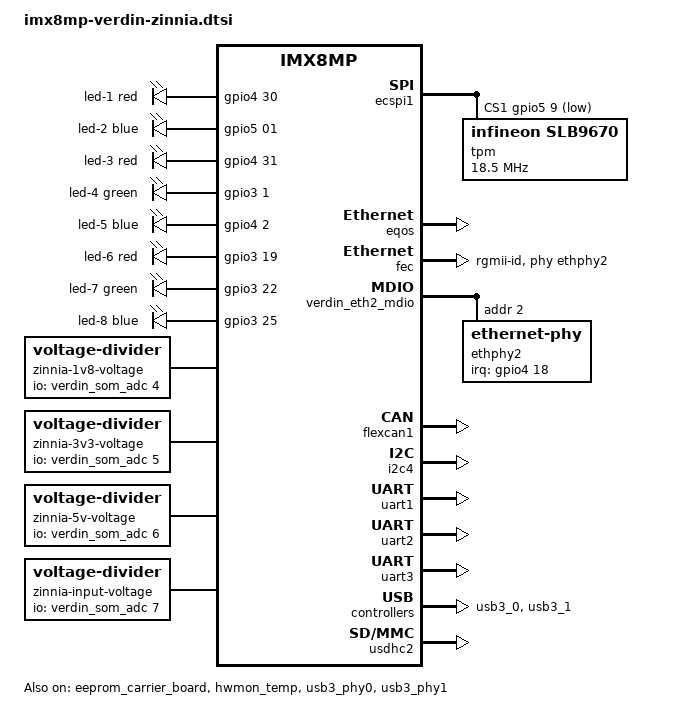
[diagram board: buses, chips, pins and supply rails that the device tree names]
// SPDX-License-Identifier: GPL-2.0-or-later OR MIT
/*
 * Copyright (c) Toradex
 *
 * Common dtsi for Verdin IMX8MP SoM on Zinnia carrier board
 *
 * https://www.toradex.com/computer-on-modules/verdin-arm-family/nxp-imx-8m-plus
 * https://www.toradex.com/products/carrier-board/zinnia-carrier-board
 */

#include <dt-bindings/leds/common.h>
#include <dt-bindings/net/ti-dp83867.h>

/ {
	leds {
		compatible = "gpio-leds";
		pinctrl-names = "default";
		pinctrl-0 = <&pinctrl_zinnia_leds>;

		/* LED1 Red - SODIMM 48 - LED1_R */
		led-1 {
			color = <LED_COLOR_ID_RED>;
			default-state = "off";
			function = LED_FUNCTION_STATUS;
			function-enumerator = <1>;
			gpios = <&gpio4 30 GPIO_ACTIVE_HIGH>;
		};

		/* LED1 Blue - SODIMM 46 - LED1_B */
		led-2 {
			color = <LED_COLOR_ID_BLUE>;
			default-state = "off";
			function = LED_FUNCTION_STATUS;
			function-enumerator = <1>;
			gpios = <&gpio5 01 GPIO_ACTIVE_HIGH>;
		};

		/* LED3 Red - SODIMM 44 - LED3_R */
		led-3 {
			color = <LED_COLOR_ID_RED>;
			default-state = "off";
			function = LED_FUNCTION_STATUS;
			function-enumerator = <3>;
			gpios = <&gpio4 31 GPIO_ACTIVE_HIGH>;
		};

		/* LED3 Green - SODIMM 54 - LED3_G */
		led-4 {
			color = <LED_COLOR_ID_GREEN>;
			default-state = "off";
			function = LED_FUNCTION_STATUS;
			function-enumerator = <3>;
			gpios = <&gpio3 1 GPIO_ACTIVE_HIGH>;
		};

		/* LED3 Blue - SODIMM 36 - LED3_B */
		led-5 {
			color = <LED_COLOR_ID_BLUE>;
			default-state = "off";
			function = LED_FUNCTION_STATUS;
			function-enumerator = <3>;
			gpios = <&gpio4 2 GPIO_ACTIVE_HIGH>;
		};

		/* LED4 Red - SODIMM 34 - LED4_R */
		led-6 {
			color = <LED_COLOR_ID_RED>;
			default-state = "off";
			function = LED_FUNCTION_STATUS;
			function-enumerator = <4>;
			gpios = <&gpio3 19 GPIO_ACTIVE_HIGH>;
		};

		/* LED4 Green - SODIMM 32 - LED4_G */
		led-7 {
			color = <LED_COLOR_ID_GREEN>;
			default-state = "off";
			function = LED_FUNCTION_STATUS;
			function-enumerator = <4>;
			gpios = <&gpio3 22 GPIO_ACTIVE_HIGH>;
		};

		/* LED4 Blue - SODIMM 30 - LED4_B */
		led-8 {
			color = <LED_COLOR_ID_BLUE>;
			default-state = "off";
			function = LED_FUNCTION_STATUS;
			function-enumerator = <4>;
			gpios = <&gpio3 25 GPIO_ACTIVE_HIGH>;
		};
	};

	zinnia-1v8-voltage {
		compatible = "voltage-divider";
		full-ohms = <39000>; /* 12k + 27k */
		/* Verdin ADC_4 */
		io-channels = <&verdin_som_adc 4>;
		output-ohms = <27000>;
	};

	zinnia-3v3-voltage {
		compatible = "voltage-divider";
		full-ohms = <54000>; /* 27k + 27k */
		/* Verdin ADC_3 */
		io-channels = <&verdin_som_adc 5>;
		output-ohms = <27000>;
	};

	zinnia-5v-voltage {
		compatible = "voltage-divider";
		full-ohms = <39000>; /* 27k + 12k */
		/* Verdin ADC_2 */
		io-channels = <&verdin_som_adc 6>;
		output-ohms = <12000>;
	};

	/* Zinnia Power Supply Input Voltage */
	zinnia-input-voltage {
		compatible = "voltage-divider";
		full-ohms = <204700>; /* 200k + 4.7k */
		/* Verdin ADC_1 */
		io-channels = <&verdin_som_adc 7>;
		output-ohms = <4700>;
	};
};

/* Verdin SPI_1 */
&ecspi1 {
	pinctrl-0 = <&pinctrl_ecspi1>, <&pinctrl_uart2_cts_gpio>;
	cs-gpios = <&gpio2 6 GPIO_ACTIVE_LOW>, <&gpio5 9 GPIO_ACTIVE_LOW>;

	status = "okay";

	tpm@1 {
		compatible = "infineon,slb9670", "tcg,tpm_tis-spi";
		reg = <1>;
		spi-max-frequency = <18500000>;
	};
};

/* EEPROM on Zinnia */
&eeprom_carrier_board {
	status = "okay";
};

/* Verdin ETH_1 */
&eqos {
	status = "okay";
};

/* Verdin ETH_2 */
&fec {
	phy-handle = <&ethphy2>;
	phy-mode = "rgmii-id";

	status = "okay";
};

&verdin_eth2_mdio {
	ethphy2: ethernet-phy@2 {
		reg = <2>;
		interrupt-parent = <&gpio4>;
		interrupts = <18 IRQ_TYPE_LEVEL_LOW>;
		ti,rx-internal-delay = <DP83867_RGMIIDCTL_2_00_NS>;
		ti,tx-internal-delay = <DP83867_RGMIIDCTL_2_00_NS>;
	};
};

/* Verdin CAN_1 */
&flexcan1 {
	status = "okay";
};

&gpio1 {
	gpio-line-names =
		"DO1_EN", /* 0 */ /* SODIMM 206 */
		"DI1_EN", /* SODIMM 208 */
		"",
		"",
		"",
		"DI1_RB", /* SODIMM 210 */
		"DO2_EN", /* SODIMM 212 */
		"DI2_RB", /* SODIMM 216 */
		"DI2_EN", /* SODIMM 218 */
		"",
		"", /* 10 */
		"",
		"",
		"",
		"",
		"",
		"",
		"",
		"",
		"",
		"", /* 20 */
		"",
		"",
		"",
		"",
		"",
		"",
		"",
		"",
		"";
};

&gpio2 {
	gpio-line-names =
		"", /* 0 */
		"",
		"",
		"",
		"",
		"",
		"",
		"",
		"",
		"",
		"", /* 10 */
		"",
		"",
		"",
		"",
		"",
		"",
		"",
		"",
		"",
		""; /* 20 */
};

&gpio3 {
	gpio-line-names =
		"", /* 0 */
		"",
		"",
		"",
		"",
		"",
		"DI3_RB", /* SODIMM 56 */
		"",
		"",
		"",
		"", /* 10 */
		"",
		"",
		"",
		"",
		"",
		"",
		"",
		"",
		"",
		"", /* 20 */
		"",
		"",
		"",
		"",
		"",
		"",
		"",
		"",
		"";
};

&gpio4 {
	gpio-line-names =
		"", /* 0 */
		"DI3_EN", /* SODIMM 222 */
		"",
		"DO3_EN", /* SODIMM 220 */
		"",
		"",
		"",
		"",
		"",
		"",
		"", /* 10 */
		"",
		"",
		"",
		"",
		"",
		"",
		"",
		"",
		"",
		"", /* 20 */
		"",
		"",
		"",
		"",
		"",
		"",
		"",
		"",
		"",
		"", /* 30 */
		"";
};

&gpio5 {
	gpio-line-names =
		"", /* 0 */
		"",
		"",
		"",
		"",
		"",
		"",
		"",
		"",
		"",
		"", /* 10 */
		"",
		"",
		"",
		"",
		"",
		"",
		"",
		"",
		"",
		"", /* 20 */
		"",
		"",
		"",
		"",
		"",
		"",
		"",
		"",
		"";
};

/* Temperature sensor on Zinnia */
&hwmon_temp {
	compatible = "ti,tmp1075";

	status = "okay";
};

/* Verdin I2C_1 */
&i2c4 {
	status = "okay";
};

/* Verdin UART_1 */
&uart1 {
	status = "okay";
};

/* Verdin UART_2 */
&uart2 {
	pinctrl-0 = <&pinctrl_uart2>, <&pinctrl_uart2_rts>;
	linux,rs485-enabled-at-boot-time;
	rs485-rx-during-tx;

	status = "okay";
};

/* Verdin UART_3 */
&uart3 {
	status = "okay";
};

/* Verdin USB_1 */
&usb3_0 {
	status = "okay";
};

&usb3_phy0 {
	status = "okay";
};

/* Verdin USB_2 */
&usb3_1 {
	status = "okay";
};

&usb3_phy1 {
	status = "okay";
};

/* Verdin SD_1 */
&usdhc2 {
	status = "okay";
};

&iomuxc {
	pinctrl-names = "default";
	pinctrl-0 = <&pinctrl_gpio1>,
		    <&pinctrl_gpio2>,
		    <&pinctrl_gpio3>,
		    <&pinctrl_gpio4>,
		    <&pinctrl_gpio5>,
		    <&pinctrl_gpio6>,
		    <&pinctrl_gpio7>,
		    <&pinctrl_gpio8>,
		    <&pinctrl_qspi1_io0_gpio>;

	pinctrl_uart2_cts_gpio: gpio2io6grp {
		fsl,pins = <MX8MP_IOMUXC_SD1_DATA4__GPIO2_IO06	0x184>;	/* SODIMM 143 */
	};

	pinctrl_qspi1_io0_gpio: gpio3io6grp {
		fsl,pins = <MX8MP_IOMUXC_NAND_DATA00__GPIO3_IO06	0x184>;	/* SODIMM 56 */
	};

	pinctrl_zinnia_leds: zinnialedsgrp {
		fsl,pins =
			<MX8MP_IOMUXC_SAI5_MCLK__GPIO3_IO25	0x16>, /* SODIMM 30 */
			<MX8MP_IOMUXC_SAI5_RXD1__GPIO3_IO22	0x16>, /* SODIMM 32 */
			<MX8MP_IOMUXC_SAI5_RXFS__GPIO3_IO19	0x16>, /* SODIMM 34 */
			<MX8MP_IOMUXC_SAI1_RXD0__GPIO4_IO02	0x16>, /* SODIMM 36 */
			<MX8MP_IOMUXC_SAI3_TXFS__GPIO4_IO31	0x16>, /* SODIMM 44 */
			<MX8MP_IOMUXC_SAI3_TXD__GPIO5_IO01	0x16>, /* SODIMM 46 */
			<MX8MP_IOMUXC_SAI3_RXD__GPIO4_IO30	0x16>, /* SODIMM 48 */
			<MX8MP_IOMUXC_NAND_CE0_B__GPIO3_IO01	0x16>; /* SODIMM 54 */
	};
};
